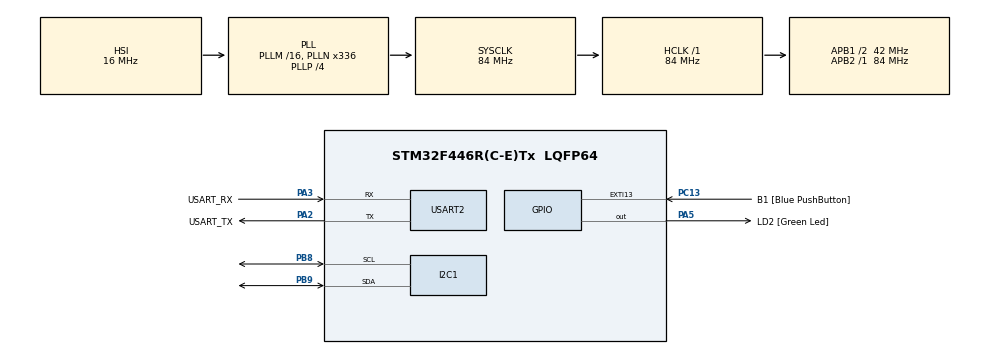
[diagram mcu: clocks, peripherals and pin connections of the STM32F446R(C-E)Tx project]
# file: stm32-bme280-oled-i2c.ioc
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Mcu.Family=STM32F4
Mcu.Name=STM32F446R(C-E)Tx
Mcu.Package=LQFP64
NVIC.PriorityGroup=NVIC_PRIORITYGROUP_0
PA13.GPIO_Label=TMS
PA13.Signal=SYS_JTMS-SWDIO
PA14.GPIO_Label=TCK
PA14.Signal=SYS_JTCK-SWCLK
PA2.GPIO_Label=USART_TX
PA2.Mode=Asynchronous
PA2.Signal=USART2_TX
PA3.GPIO_Label=USART_RX
PA3.Mode=Asynchronous
PA3.Signal=USART2_RX
PA5.GPIO_Label=LD2 [Green Led]
PA5.Signal=GPIO_Output
PB3.GPIO_Label=SWO
PB3.Signal=SYS_JTDO-SWO
PB8.GPIO_Pu=GPIO_PULLUP
PB8.Mode=I2C
PB8.Signal=I2C1_SCL
PB9.GPIO_Pu=GPIO_PULLUP
PB9.Mode=I2C
PB9.Signal=I2C1_SDA
PC13.GPIO_Label=B1 [Blue PushButton]
PC13.GPIO_ModeDefaultEXTI=GPIO_MODE_IT_FALLING
PC13.Signal=GPXTI13
PC14-OSC32_IN.Signal=RCC_OSC32_IN
PC15-OSC32_OUT.Signal=RCC_OSC32_OUT
PH0-OSC_IN.Signal=RCC_OSC_IN
PH1-OSC_OUT.Signal=RCC_OSC_OUT
ProjectManager.HeapSize=0x200
ProjectManager.StackSize=0x400
ProjectManager.TargetToolchain=STM32CubeIDE
RCC.AHBFreq_Value=84000000
RCC.APB1CLKDivider=RCC_HCLK_DIV2
RCC.APB1Freq_Value=42000000
RCC.APB1TimFreq_Value=84000000
RCC.APB2Freq_Value=84000000
RCC.APB2TimFreq_Value=84000000
RCC.CortexFreq_Value=84000000
RCC.FLatency-AdvancedSettings=FLASH_LATENCY_2
RCC.HCLKFreq_Value=84000000
RCC.HSE_VALUE=8000000
RCC.HSI_VALUE=16000000
RCC.LSE_VALUE=32768
RCC.PLLN=336
RCC.PLLP=RCC_PLLP_DIV4
RCC.SYSCLKFreq_VALUE=84000000
RCC.SYSCLKSource=RCC_SYSCLKSOURCE_PLLCLK
RCC.USBFreq_Value=168000000
RCC.VCOOutputFreq_Value=336000000
USART2.VirtualMode=VM_ASYNC
board=NUCLEO-F446RE

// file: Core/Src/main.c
/* USER CODE BEGIN Header */
/**
  ******************************************************************************
  * @file           : main.c
  * @brief          : Main program body
  ******************************************************************************
  * @attention
  *
  * Copyright (c) 2026 STMicroelectronics.
  * All rights reserved.
  *
  * This software is licensed under terms that can be found in the LICENSE file
  * in the root directory of this software component.
  * If no LICENSE file comes with this software, it is provided AS-IS.
  *
  ******************************************************************************
  */
/* USER CODE END Header */
#include "main.h"

/* USER CODE BEGIN Includes */
#include <stdio.h>
#include "bme280.h"
#include "bme280_defs.h"
#include "ssd1306.h"
#include "ssd1306_fonts.h"
/* USER CODE END Includes */

I2C_HandleTypeDef hi2c1;

UART_HandleTypeDef huart2;

void SystemClock_Config(void);
static void MX_GPIO_Init(void);
static void MX_I2C1_Init(void);
static void MX_USART2_UART_Init(void);
/* USER CODE BEGIN PFP */
#ifdef __GNUC__
#define PUTCHAR_PROTOTYPE int __io_putchar(int ch)
#else
#define PUTCHAR_PROTOTYPE int fputc(int ch, FILE *f)
#endif

int8_t user_i2c_read(uint8_t reg_addr, uint8_t *reg_data, uint32_t len, void *intf_ptr);
int8_t user_i2c_write(uint8_t reg_addr, const uint8_t *reg_data, uint32_t len, void *intf_ptr);
void user_delay_us(uint32_t period, void *intf_ptr);
/* USER CODE END PFP */

int main(void)
{

  /* MCU Configuration--------------------------------------------------------*/

  /* Reset of all peripherals, Initializes the Flash interface and the Systick. */
  HAL_Init();

  /* Configure the system clock */
  SystemClock_Config();

  /* Initialize all configured peripherals */
  MX_GPIO_Init();
  MX_I2C1_Init();
  MX_USART2_UART_Init();

  /* USER CODE BEGIN 2 */

  struct bme280_dev dev;
    struct bme280_settings settings; // First we're making the configuration structure
    uint8_t dev_addr = 0x76;
    int8_t rslt = BME280_OK;

    dev.intf_ptr = &dev_addr;
    dev.intf = BME280_I2C_INTF;
    dev.read = user_i2c_read;
    dev.write = user_i2c_write;
    dev.delay_us = user_delay_us;

    rslt = bme280_init(&dev);

    if (rslt == BME280_OK) {
        printf("BME280 was found!\r\n");

        // 1. Get current sensor Settings
        bme280_get_sensor_settings(&settings, &dev);

        // 2. Modification of Settings
        settings.osr_h = BME280_OVERSAMPLING_1X;
        settings.osr_p = BME280_OVERSAMPLING_1X;
        settings.osr_t = BME280_OVERSAMPLING_1X;
        settings.filter = BME280_FILTER_COEFF_16;

        // 3. We're writing the modification back to the sensor
        bme280_set_sensor_settings(BME280_SEL_ALL_SETTINGS, &settings, &dev);

        // 4. Set sensor mode
        bme280_set_sensor_mode(BME280_POWERMODE_NORMAL, &dev); // Attend to: POWERMODE_NORMAL
    } else {
        printf("Hiba: BME280 was not found! error code: %d\r\n", rslt);
    }

    ssd1306_Init();
    ssd1306_Fill(Black);
    ssd1306_UpdateScreen();

	  printf("Hello from STM32! The system is active!\r\n");
  /* USER CODE END 2 */

  /* Infinite loop */
  while (1)
  {
	  struct bme280_data comp_data;

	      // Request of measurement
	      bme280_get_sensor_data(BME280_ALL, &comp_data, &dev);

	      // Print data to serial terminal
	      printf("Temperature: %.2f C | Humidity: %.2f %% | Pressure: %.2f hPa\r\n",
	             comp_data.temperature,
	             comp_data.humidity,
	             comp_data.pressure / 100.0);

	      HAL_Delay(1000);

	      ssd1306_Fill(Black);

	      char buffer1[20];
	      char buffer2[20];
	      char buffer3[20];

	      sprintf(buffer1, "Temp: %.2f C", comp_data.temperature);
	      sprintf(buffer2, "Hum: %.2f %%", comp_data.humidity);
	      sprintf(buffer3, "Pres: %.2f hPa", comp_data.pressure / 100.0);

	      ssd1306_SetCursor(0, 0);  // 1. sor (y = 0)
	      ssd1306_WriteString(buffer1, Font_7x10, White);

	      ssd1306_SetCursor(0, 15); // 2. sor (y = 15)
	      ssd1306_WriteString(buffer2, Font_7x10, White);

	      ssd1306_SetCursor(0, 30); // 3. sor (y = 30)
	      ssd1306_WriteString(buffer3, Font_7x10, White);

	      ssd1306_UpdateScreen();
	      HAL_Delay(500);
	          /* USER CODE END WHILE */
	      /* USER CODE END WHILE */
  }
}

void SystemClock_Config(void)
{
  RCC_OscInitTypeDef RCC_OscInitStruct = {0};
  RCC_ClkInitTypeDef RCC_ClkInitStruct = {0};

  /** Configure the main internal regulator output voltage
  */
  __HAL_RCC_PWR_CLK_ENABLE();
  __HAL_PWR_VOLTAGESCALING_CONFIG(PWR_REGULATOR_VOLTAGE_SCALE3);

  /** Initializes the RCC Oscillators according to the specified parameters
  * in the RCC_OscInitTypeDef structure.
  */
  RCC_OscInitStruct.OscillatorType = RCC_OSCILLATORTYPE_HSI;
  RCC_OscInitStruct.HSIState = RCC_HSI_ON;
  RCC_OscInitStruct.HSICalibrationValue = RCC_HSICALIBRATION_DEFAULT;
  RCC_OscInitStruct.PLL.PLLState = RCC_PLL_ON;
  RCC_OscInitStruct.PLL.PLLSource = RCC_PLLSOURCE_HSI;
  RCC_OscInitStruct.PLL.PLLM = 16;
  RCC_OscInitStruct.PLL.PLLN = 336;
  RCC_OscInitStruct.PLL.PLLP = RCC_PLLP_DIV4;
  RCC_OscInitStruct.PLL.PLLQ = 2;
  RCC_OscInitStruct.PLL.PLLR = 2;
  if (HAL_RCC_OscConfig(&RCC_OscInitStruct) != HAL_OK)
  {
    Error_Handler();
  }

  /** Initializes the CPU, AHB and APB buses clocks
  */
  RCC_ClkInitStruct.ClockType = RCC_CLOCKTYPE_HCLK|RCC_CLOCKTYPE_SYSCLK
                              |RCC_CLOCKTYPE_PCLK1|RCC_CLOCKTYPE_PCLK2;
  RCC_ClkInitStruct.SYSCLKSource = RCC_SYSCLKSOURCE_PLLCLK;
  RCC_ClkInitStruct.AHBCLKDivider = RCC_SYSCLK_DIV1;
  RCC_ClkInitStruct.APB1CLKDivider = RCC_HCLK_DIV2;
  RCC_ClkInitStruct.APB2CLKDivider = RCC_HCLK_DIV1;

  if (HAL_RCC_ClockConfig(&RCC_ClkInitStruct, FLASH_LATENCY_2) != HAL_OK)
  {
    Error_Handler();
  }
}

static void MX_I2C1_Init(void)
{

  hi2c1.Instance = I2C1;
  hi2c1.Init.ClockSpeed = 100000;
  hi2c1.Init.DutyCycle = I2C_DUTYCYCLE_2;
  hi2c1.Init.OwnAddress1 = 0;
  hi2c1.Init.AddressingMode = I2C_ADDRESSINGMODE_7BIT;
  hi2c1.Init.DualAddressMode = I2C_DUALADDRESS_DISABLE;
  hi2c1.Init.OwnAddress2 = 0;
  hi2c1.Init.GeneralCallMode = I2C_GENERALCALL_DISABLE;
  hi2c1.Init.NoStretchMode = I2C_NOSTRETCH_DISABLE;
  if (HAL_I2C_Init(&hi2c1) != HAL_OK)
  {
    Error_Handler();
  }

}

static void MX_USART2_UART_Init(void)
{

  huart2.Instance = USART2;
  huart2.Init.BaudRate = 115200;
  huart2.Init.WordLength = UART_WORDLENGTH_8B;
  huart2.Init.StopBits = UART_STOPBITS_1;
  huart2.Init.Parity = UART_PARITY_NONE;
  huart2.Init.Mode = UART_MODE_TX_RX;
  huart2.Init.HwFlowCtl = UART_HWCONTROL_NONE;
  huart2.Init.OverSampling = UART_OVERSAMPLING_16;
  if (HAL_UART_Init(&huart2) != HAL_OK)
  {
    Error_Handler();
  }

}

static void MX_GPIO_Init(void)
{
  GPIO_InitTypeDef GPIO_InitStruct = {0};

  /* GPIO Ports Clock Enable */
  __HAL_RCC_GPIOC_CLK_ENABLE();
  __HAL_RCC_GPIOH_CLK_ENABLE();
  __HAL_RCC_GPIOA_CLK_ENABLE();
  __HAL_RCC_GPIOB_CLK_ENABLE();

  /*Configure GPIO pin Output Level */
  HAL_GPIO_WritePin(LD2_GPIO_Port, LD2_Pin, GPIO_PIN_RESET);

  /*Configure GPIO pin : B1_Pin */
  GPIO_InitStruct.Pin = B1_Pin;
  GPIO_InitStruct.Mode = GPIO_MODE_IT_FALLING;
  GPIO_InitStruct.Pull = GPIO_NOPULL;
  HAL_GPIO_Init(B1_GPIO_Port, &GPIO_InitStruct);

  /*Configure GPIO pin : LD2_Pin */
  GPIO_InitStruct.Pin = LD2_Pin;
  GPIO_InitStruct.Mode = GPIO_MODE_OUTPUT_PP;
  GPIO_InitStruct.Pull = GPIO_NOPULL;
  GPIO_InitStruct.Speed = GPIO_SPEED_FREQ_LOW;
  HAL_GPIO_Init(LD2_GPIO_Port, &GPIO_InitStruct);

}

/* USER CODE BEGIN 4 */
PUTCHAR_PROTOTYPE
{
  HAL_UART_Transmit(&huart2, (uint8_t *)&ch, 1, HAL_MAX_DELAY);
  return ch;
}

/* Bosch BME280 I2C read interface */
int8_t user_i2c_read(uint8_t reg_addr, uint8_t *reg_data, uint32_t len, void *intf_ptr)
{
    HAL_StatusTypeDef status;
    uint8_t dev_addr = *(uint8_t*)intf_ptr;

    status = HAL_I2C_Mem_Read(&hi2c1, dev_addr << 1, reg_addr, I2C_MEMADD_SIZE_8BIT, reg_data, len, HAL_MAX_DELAY);

    if (status == HAL_OK) {
        return BME280_OK;
    } else {
        return BME280_E_COMM_FAIL;
    }
}

/* Bosch BME280 I2C write interface */
int8_t user_i2c_write(uint8_t reg_addr, const uint8_t *reg_data, uint32_t len, void *intf_ptr)
{
    HAL_StatusTypeDef status;
    uint8_t dev_addr = *(uint8_t*)intf_ptr;

    status = HAL_I2C_Mem_Write(&hi2c1, dev_addr << 1, reg_addr, I2C_MEMADD_SIZE_8BIT, (uint8_t *)reg_data, len, HAL_MAX_DELAY);

    if (status == HAL_OK) {
        return BME280_OK;
    } else {
        return BME280_E_COMM_FAIL;
    }
}

/* Bosch BME280 I2C delay interface */
void user_delay_us(uint32_t period, void *intf_ptr)
{
    uint32_t ms = period / 1000;
    if (ms == 0 && period > 0) {
        ms = 1;
    }
    HAL_Delay(ms);
}
/* USER CODE END 4 */

void Error_Handler(void)
{
  __disable_irq();
  while (1)
  {
  }
}
